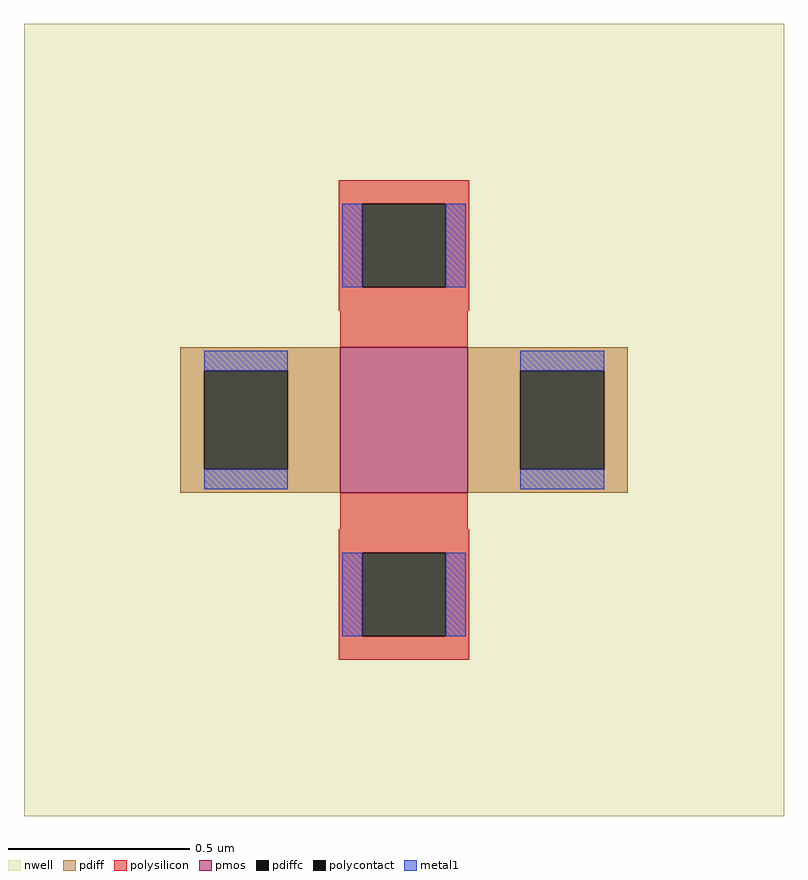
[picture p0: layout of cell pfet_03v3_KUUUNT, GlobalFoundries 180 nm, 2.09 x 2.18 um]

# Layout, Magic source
magic
tech gf180mcuD
magscale 1 10
<< nwell >>
rect -209 -218 209 218
<< pmos >>
rect -35 -40 35 40
<< pdiff >>
rect -123 27 -35 40
rect -123 -27 -110 27
rect -64 -27 -35 27
rect -123 -40 -35 -27
rect 35 27 123 40
rect 35 -27 64 27
rect 110 -27 123 27
rect 35 -40 123 -27
<< pdiffc >>
rect -110 -27 -64 27
rect 64 -27 110 27
<< polysilicon >>
rect -36 119 36 132
rect -36 73 -23 119
rect 23 73 36 119
rect -36 60 36 73
rect -35 40 35 60
rect -35 -60 35 -40
rect -36 -73 36 -60
rect -36 -119 -23 -73
rect 23 -119 36 -73
rect -36 -132 36 -119
<< polycontact >>
rect -23 73 23 119
rect -23 -119 23 -73
<< metal1 >>
rect -34 73 -23 119
rect 23 73 34 119
rect -110 27 -64 38
rect -110 -38 -64 -27
rect 64 27 110 38
rect 64 -38 110 -27
rect -34 -119 -23 -73
rect 23 -119 34 -73
<< properties >>
string gencell pfet_03v3
string library gf180mcu
string parameters w 0.4 l 0.35 m 1 nf 1 diffcov 100 polycov 100 guard 0 glc 1 grc 1 gtc 0 gbc 0 tbcov 100 rlcov 100 topc 1 botc 1 poverlap 0 doverlap 1 lmin 0.28 wmin 0.22 class mosfet full_metal 0 compatible {pfet_03v3 pfet_06v0}
<< end >>
